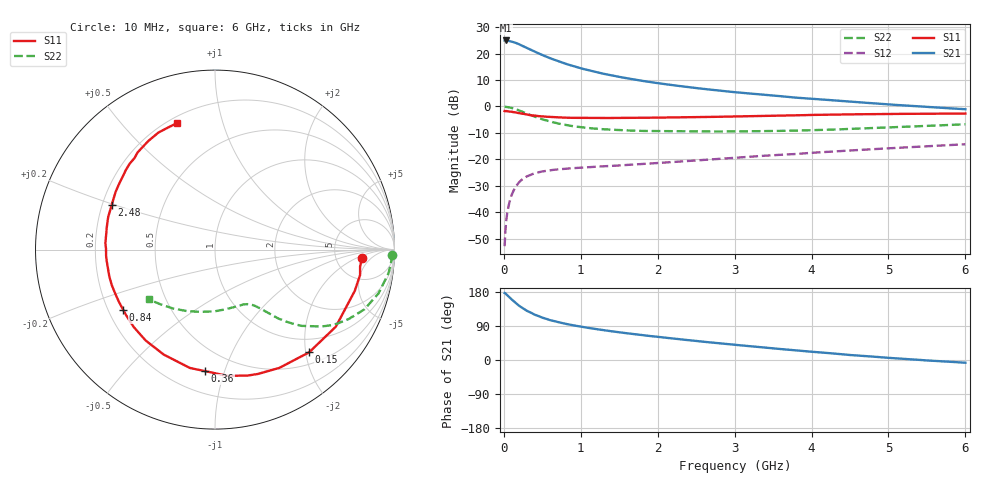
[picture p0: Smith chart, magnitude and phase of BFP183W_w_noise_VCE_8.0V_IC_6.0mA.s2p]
! Infineon Technologies  Discrete & RF Semiconductors
! BFP183W
! VCE = 8.0 V,  IC =  6.0 mA
! Common Emitter S-Parameters:  Jan 2016
# GHz  S  MA  R  50
!  f  S11  S21  S12  S22
! GHz  MAG  ANG  MAG  ANG  MAG  ANG  MAG  ANG
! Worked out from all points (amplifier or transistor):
!   210 points, 10 MHz to 6 GHz, reference 50 ohm
!   highest |S21| = 24.9 dB at 30 MHz (marker M1)
!   |S21| within 3 dB of that: start of sweep to 311.6 MHz
!   unconditionally stable (mu >= 1): 1.744 GHz to 5.805 GHz
!   at 185 MHz: K = 0.16, MSG = 26.4 dB, |S12| = -29.1 dB
!   at 1.52 GHz: K = 0.93, MSG = 16.7 dB, |S12| = -22.2 dB
!   at 6 GHz: K = 0.98, MSG = 6.6 dB, |S12| = -14.3 dB
!   lowest NFmin = 1.20 dB at 450 MHz
!   S11 on the Smith chart (normalised r, x): 10 MHz: 9.33, -2.69; 150 MHz: 0.72, -2.07; 360 MHz: 0.34, -0.86; 840 MHz: 0.26, -0.28; 2.48 GHz: 0.24, +0.19; 6 GHz: 0.23, +0.72
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0.01  0.8201 -3.3  17.62 176.8  0.0023 89.0  0.9884 -1.6
0.03  0.8206 -9.9  17.65 173.9  0.0068 87.0  0.983 -4.7
0.05  0.8119 -16.5  17.48 169.7  0.0109 80.6  0.9753 -7.8
0.1  0.7986 -32.5  16.85 160.2  0.021 72.9  0.9433 -15.0
0.15  0.7763 -47.5  16.01 151.0  0.03 66.3  0.8965 -21.8
0.2  0.7503 -61.4  14.91 142.9  0.0373 59.6  0.841 -27.3
0.24  0.7329 -71.0  14.04 137.5  0.0422 55.7  0.7974 -31.1
0.3  0.7069 -84.3  12.73 129.7  0.0478 50.4  0.7323 -35.8
0.36  0.6793 -94.7  11.58 124.1  0.052 46.2  0.6777 -39.0
0.4  0.6741 -102.0  10.88 119.7  0.0549 43.8  0.6426 -41.4
0.5  0.651 -116.0  9.365 111.7  0.0593 39.4  0.5721 -45.0
0.6  0.6369 -127.4  8.156 105.3  0.0626 36.5  0.5193 -47.5
0.7  0.6253 -136.5  7.226 100.2  0.0647 34.8  0.4791 -49.1
0.84  0.6122 -146.6  6.167 94.0  0.0675 33.1  0.4384 -51.1
1.02  0.6073 -157.0  5.168 87.4  0.07 32.3  0.4031 -53.2
1.42  0.6067 -174.0  3.811 75.3  0.076 32.9  0.3633 -57.4
2.02  0.6161 167.7  2.733 60.7  0.0861 35.7  0.3416 -65.3
2.48  0.6267 156.7  2.245 50.7  0.0951 37.6  0.3371 -72.7
3.1  0.6507 143.8  1.81 38.3  0.1098 39.1  0.3387 -84.0
4.1  0.6949 127.2  1.367 20.3  0.1361 38.8  0.3596 -105.7
5.1  0.7248 114.9  1.07 4.4  0.1651 36.2  0.4075 -127.5
6  0.7353 106.8  0.887 -7.3  0.1933 33.2  0.4605 -142.9
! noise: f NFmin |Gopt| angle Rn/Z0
0.45  1.2  0.21  41  0.24
0.9  1.25  0.24  101  0.21
1.8  2  0.32  175  0.14
